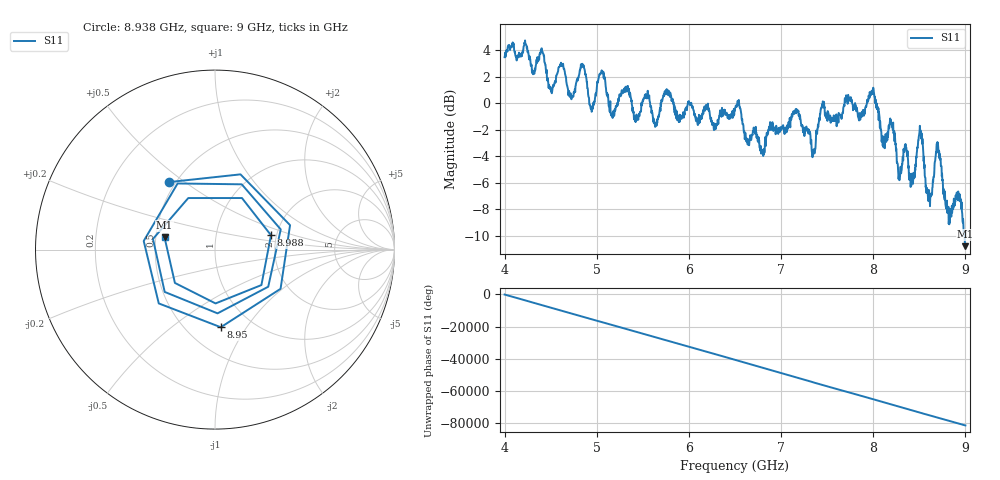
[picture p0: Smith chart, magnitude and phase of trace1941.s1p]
! Created with skrf 1.8.0 (http://scikit-rf.org).
# Hz S RI R 50.0
!freq ReS11 ImS11
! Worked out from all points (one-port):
!   1601 points, 4 GHz to 9 GHz, reference 50 ohm
!   lowest |S11| = -10.8 dB at 9 GHz (marker M1), VSWR 1.81, Z = 27.8 + j4.16 ohm
!   |S11| at or under -10 dB: 8.992056 GHz to end of sweep
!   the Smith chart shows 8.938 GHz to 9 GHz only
!   S11 on the Smith chart (normalised r, x): 8.938 GHz: 0.46, +0.44; 8.95 GHz: 0.72, -0.77; 8.988 GHz: 1.87, +0.33; 9 GHz: 0.56, +0.08
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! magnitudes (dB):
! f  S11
! 4 GHz  3.5
! 4.625 GHz  2.9
! 4.728 GHz  0.5
! 4.853 GHz  2.7
! 4.944 GHz  -0.6
! 5.047 GHz  2.3
! 5.162 GHz  -0.8
! 5.25 GHz  0.6
! 5.875 GHz  -1.3
! 6.5 GHz  -0.5
! 6.797 GHz  -3.5
! 7.125 GHz  -0.8
! 7.353 GHz  -3.6
! 7.447 GHz  -0.1
! 7.75 GHz  0.4
! 7.994 GHz  0.7
! 8.203 GHz  -1.7
! 8.281 GHz  -5.5
! 8.375 GHz  -4.1
! 8.431 GHz  -6.1
! 8.512 GHz  -2.1
! 8.6 GHz  -6.9
! 8.7 GHz  -3.0
! 8.806 GHz  -8.0
! 8.938 GHz  -6.9
! 8.95 GHz  -7.3
! 8.988 GHz  -9.8
! 9 GHz  -10.8
